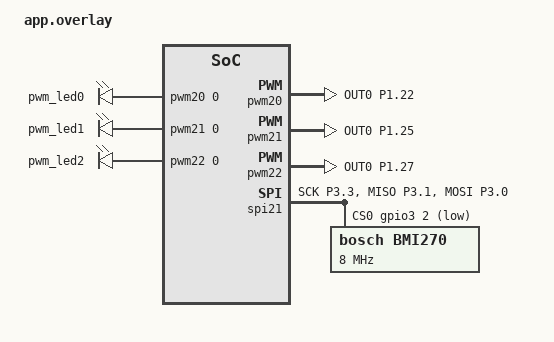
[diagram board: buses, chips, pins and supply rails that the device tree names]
/*
 * Copyright (c) 2026 Nordic Semiconductor ASA
 *
 * SPDX-License-Identifier: LicenseRef-Nordic-5-Clause
 */

/ {
	aliases {
		pwm-led0 = &pwm_led0;
		pwm-led1 = &pwm_led1;
		pwm-led2 = &pwm_led2;
	};

	pwmleds {
		compatible = "pwm-leds";

		pwm_led0: pwm_led_0 {
			pwms = <&pwm20 0 PWM_MSEC(20) PWM_POLARITY_NORMAL>;
		};

		pwm_led1: pwm_led_1 {
			pwms = <&pwm21 0 PWM_MSEC(20) PWM_POLARITY_NORMAL>;
		};

		pwm_led2: pwm_led_2 {
			pwms = <&pwm22 0 PWM_MSEC(20) PWM_POLARITY_NORMAL>;
		};
	};
};

&pwm20 {
	status = "okay";
	pinctrl-0 = <&pwm20_default_alt>;
	pinctrl-1 = <&pwm20_sleep_alt>;
	pinctrl-names = "default", "sleep";
};

&pwm21 {
	status = "okay";
	pinctrl-0 = <&pwm21_default_alt>;
	pinctrl-1 = <&pwm21_sleep_alt>;
	pinctrl-names = "default", "sleep";
};

&pwm22 {
	status = "okay";
	pinctrl-0 = <&pwm22_default_alt>;
	pinctrl-1 = <&pwm22_sleep_alt>;
	pinctrl-names = "default", "sleep";
};

&pinctrl {
	pwm20_default_alt: pwm20_default_alt {
		group1 {
			psels = <NRF_PSEL(PWM_OUT0, 1, 22)>;
		};
	};

	pwm20_sleep_alt: pwm20_sleep_alt {
		group1 {
			psels = <NRF_PSEL(PWM_OUT0, 1, 22)>;
			low-power-enable;
		};
	};

	pwm21_default_alt: pwm21_default_alt {
		group1 {
			psels = <NRF_PSEL(PWM_OUT0, 1, 25)>;
		};
	};

	pwm21_sleep_alt: pwm21_sleep_alt {
		group1 {
			psels = <NRF_PSEL(PWM_OUT0, 1, 25)>;
			low-power-enable;
		};
	};

	pwm22_default_alt: pwm22_default_alt {
		group1 {
			psels = <NRF_PSEL(PWM_OUT0, 1, 27)>;
		};
	};

	pwm22_sleep_alt: pwm22_sleep_alt {
		group1 {
			psels = <NRF_PSEL(PWM_OUT0, 1, 27)>;
			low-power-enable;
		};
	};

	spi21_default: spi21_default {
		group1 {
			psels = <NRF_PSEL(SPIM_SCK, 3, 3)>,
				<NRF_PSEL(SPIM_MISO, 3, 1)>,
				<NRF_PSEL(SPIM_MOSI, 3, 0)>;
		};
	};

	spi21_sleep: spi21_sleep {
		group1 {
			psels = <NRF_PSEL(SPIM_SCK, 3, 3)>,
				<NRF_PSEL(SPIM_MISO, 3, 1)>,
				<NRF_PSEL(SPIM_MOSI, 3, 0)>;
			low-power-enable;
		};
	};
};

&gpio3 {
	status = "okay";
};

&spi21 {
	compatible = "nordic,nrf-spim";
	status = "okay";
	pinctrl-0 = <&spi21_default>;
	pinctrl-1 = <&spi21_sleep>;
	pinctrl-names = "default", "sleep";
	cs-gpios = <&gpio3 2 GPIO_ACTIVE_LOW>;

	bmi270: spi-dev-bmi270@0 {
		compatible = "bosch,bmi270";
		status = "okay";
		reg = <0>;
		spi-max-frequency = <DT_FREQ_M(8)>;
	};
};
